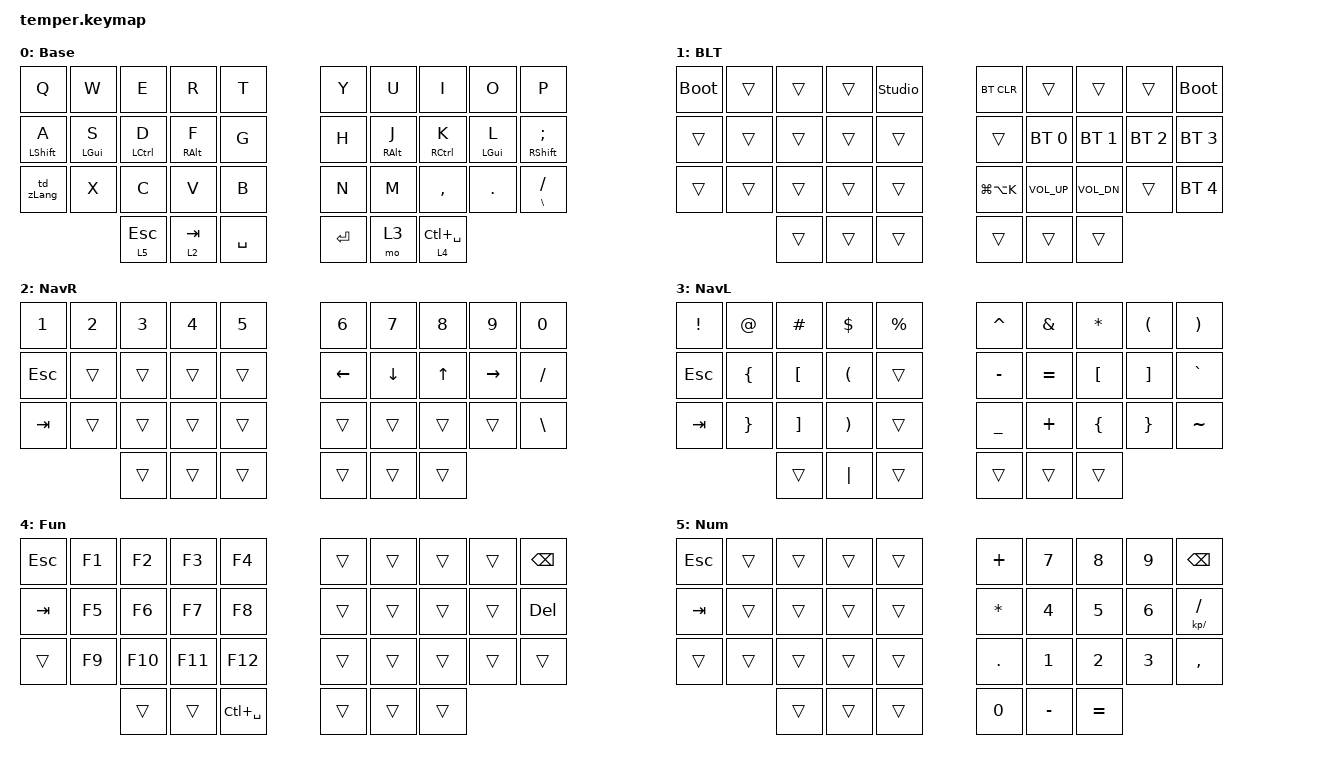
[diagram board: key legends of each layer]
/*
 * FunkeeB Temper keymap based on:
 * https://github.com/xphstos/xphstos_temper_zmk_
 *
 * Kept as plain ZMK devicetree for compatibility with both
 * Nick Coutsos' ZMK Keymap Editor and ZMK Studio.
 */

#include <behaviors.dtsi>
#include <dt-bindings/zmk/bt.h>
#include <dt-bindings/zmk/keys.h>

&mt {
    tapping-term-ms = <150>;
    flavor = "balanced";
};

&lt { tapping-term-ms = <165>; };

/ {
    behaviors {
        hm: hm {
            compatible = "zmk,behavior-hold-tap";
            label = "HM";
            bindings = <&kp>, <&kp>;

            #binding-cells = <2>;
            quick-tap-ms = <65>;
            tapping-term-ms = <125>;
            global-quick-tap;
            flavor = "tap-preferred";
        };

        hml: hml {
            compatible = "zmk,behavior-hold-tap";
            label = "HML";
            bindings = <&kp>, <&kp>;

            #binding-cells = <2>;
            tapping-term-ms = <105>;
            quick-tap-ms = <60>;
            flavor = "hold-preferred";
            hold-trigger-key-positions = <0 1 2 3 4 20 21 22 23 24 14 25 15 5 6 16 26 27 17 7 8 18 28 29 19 9 11 12 13>;
            require-prior-idle-ms = <70>;
            hold-trigger-on-release;
        };

        hmr: hmr {
            compatible = "zmk,behavior-hold-tap";
            label = "HMR";
            bindings = <&kp>, <&kp>;

            #binding-cells = <2>;
            tapping-term-ms = <105>;
            quick-tap-ms = <60>;
            flavor = "hold-preferred";
            hold-trigger-key-positions = <0 10 20 21 1 11 12 2 3 4 24 14 13 23 22 25 26 28 27 29 9 8 7 6 5 15 16 17 18 30 31 32 33 34 35>;
            require-prior-idle-ms = <70>;
            hold-trigger-on-release;
        };

        mo_tog: mo_tog {
            compatible = "zmk,behavior-hold-tap";
            label = "MO_TOG";
            bindings = <&mo>, <&tog>;

            #binding-cells = <2>;
            tapping-term-ms = <200>;
            quick-tap-ms = <180>;
        };

        space_alt: space_alt {
            compatible = "zmk,behavior-hold-tap";
            label = "SPACE_ALT";
            bindings = <&kp>, <&kp>;

            #binding-cells = <2>;
            tapping-term-ms = <235>;
            quick-tap-ms = <100>;
            flavor = "tap-preferred";
            hold-trigger-key-positions = <10 12 20 21 16 17 19 6>;
            hold-trigger-on-release;
        };

        hm_shift_r: hm_shift_r {
            compatible = "zmk,behavior-hold-tap";
            label = "HM_SHIFT_R";
            bindings = <&kp>, <&kp>;

            #binding-cells = <2>;
            tapping-term-ms = <200>;
            flavor = "tap-preferred";
        };

        hm_shift_l: hm_shift_l {
            compatible = "zmk,behavior-hold-tap";
            label = "HM_SHIFT_L";
            bindings = <&kp>, <&kp>;

            #binding-cells = <2>;
            tapping-term-ms = <200>;
            flavor = "tap-preferred";
        };

        hm_2: hm_2 {
            compatible = "zmk,behavior-hold-tap";
            label = "HM_2";
            bindings = <&kp>, <&kp>;

            #binding-cells = <2>;
            tapping-term-ms = <200>;
            flavor = "tap-preferred";
        };

        td_zLang: td_zLang {
            compatible = "zmk,behavior-tap-dance";
            label = "TD_ZLANG";
            #binding-cells = <0>;
            bindings = <&kp Z>, <&kp LC(SPACE)>;

            tapping-term-ms = <40>;
        };
    };

    combos {
        compatible = "zmk,combos";

        caps {
            bindings = <&kp CAPSLOCK>;
            key-positions = <10 19>;
            layers = <0>;
        };

        quotes {
            bindings = <&kp SINGLE_QUOTE>;
            key-positions = <18 19>;
            layers = <0>;
            timeout-ms = <30>;
        };

        boot_l {
            bindings = <&bootloader>;
            key-positions = <0 32 4>;
            layers = <0>;
        };

        bluetooth {
            bindings = <&mo 1>;
            key-positions = <32 33>;
        };

        boot_r {
            bindings = <&bootloader>;
            key-positions = <5 33 9>;
            layers = <0>;
        };

        backspace_r {
            bindings = <&kp BACKSPACE>;
            key-positions = <9 8>;
            timeout-ms = <40>;
            require-prior-idle-ms = <20>;
        };

        escape {
            bindings = <&kp ESCAPE>;
            key-positions = <0 1>;
            timeout-ms = <40>;
            require-prior-idle-ms = <33>;
        };
    };

    keymap {
        compatible = "zmk,keymap";

        base_layer {
            display-name = "Base";
            bindings = <
&kp Q                     &kp W             &kp E                 &kp R              &kp T        &kp Y      &kp U              &kp I                  &kp O             &kp P
&hm_shift_l LEFT_SHIFT A  &hm_2 LEFT_GUI S  &hm_2 LEFT_CONTROL D  &hm_2 RIGHT_ALT F  &kp G        &kp H      &hm_2 RIGHT_ALT J  &hm_2 RIGHT_CONTROL K  &hm_2 LEFT_GUI L  &hm_shift_r RIGHT_SHIFT SEMICOLON
&td_zLang                 &kp X             &kp C                 &kp V              &kp B        &kp N      &kp M              &kp COMMA              &kp DOT           &mt BACKSLASH SLASH
                                            &lt 5 ESCAPE          &lt 2 TAB          &kp SPACE    &kp ENTER  &mo 3              &lt 4 LC(SPACE)
            >;
        };

        bluetooth_layer {
            display-name = "BLT";
            bindings = <
&bootloader  &trans  &trans  &trans  &studio_unlock    &bt BT_CLR     &trans        &trans        &trans        &bootloader
&trans       &trans  &trans  &trans  &trans            &trans         &bt BT_SEL 0  &bt BT_SEL 1  &bt BT_SEL 2  &bt BT_SEL 3
&trans       &trans  &trans  &trans  &trans            &kp LG(LA(K))  &kp C_VOL_UP  &kp C_VOL_DN  &trans        &bt BT_SEL 4
                     &trans  &trans  &trans            &trans         &trans        &trans
            >;
        };

        navi_right_layer {
            display-name = "NavR";
            bindings = <
&kp NUMBER_1  &kp NUMBER_2  &kp NUMBER_3  &kp NUMBER_4  &kp NUMBER_5    &kp NUMBER_6  &kp NUMBER_7  &kp NUMBER_8  &kp NUMBER_9  &kp NUMBER_0
&kp ESC       &trans        &trans        &trans        &trans          &kp LEFT      &kp DOWN      &kp UP        &kp RIGHT     &kp SLASH
&kp TAB       &trans        &trans        &trans        &trans          &trans        &trans        &trans        &trans        &kp BACKSLASH
                            &trans        &trans        &trans          &trans        &trans        &trans
            >;
        };

        navi_left_layer {
            display-name = "NavL";
            bindings = <
&kp EXCLAMATION  &kp AT_SIGN      &kp HASH           &kp DOLLAR             &kp PERCENT    &kp CARET       &kp AMPERSAND  &kp ASTERISK      &kp LEFT_PARENTHESIS  &kp RIGHT_PARENTHESIS
&kp ESC          &kp LEFT_BRACE   &kp LEFT_BRACKET   &kp LEFT_PARENTHESIS   &trans         &kp MINUS       &kp EQUAL      &kp LEFT_BRACKET  &kp RIGHT_BRACKET     &kp GRAVE
&kp TAB          &kp RIGHT_BRACE  &kp RIGHT_BRACKET  &kp RIGHT_PARENTHESIS  &trans         &kp UNDERSCORE  &kp PLUS       &kp LEFT_BRACE    &kp RIGHT_BRACE       &kp TILDE
                                  &trans             &kp PIPE               &trans         &trans          &trans         &trans
            >;
        };

        function_layer {
            display-name = "Fun";
            bindings = <
&kp ESC  &kp F1  &kp F2   &kp F3   &kp F4           &trans  &trans  &trans  &trans  &kp BACKSPACE
&kp TAB  &kp F5  &kp F6   &kp F7   &kp F8           &trans  &trans  &trans  &trans  &kp DELETE
&trans   &kp F9  &kp F10  &kp F11  &kp F12          &trans  &trans  &trans  &trans  &trans
                 &trans   &trans   &kp LC(SPACE)    &trans  &trans  &trans
            >;
        };

        numerical_layer {
            display-name = "Num";
            bindings = <
&kp ESCAPE  &trans  &trans  &trans  &trans    &kp PLUS      &kp N7        &kp N8        &kp N9        &kp BACKSPACE
&kp TAB     &trans  &trans  &trans  &trans    &kp ASTERISK  &kp NUMBER_4  &kp N5        &kp NUMBER_6  &mt KP_DIVIDE SLASH
&trans      &trans  &trans  &trans  &trans    &kp PERIOD    &kp NUMBER_1  &kp NUMBER_2  &kp NUMBER_3  &kp COMMA
                    &trans  &trans  &trans    &kp N0        &kp MINUS     &kp EQUAL
            >;
        };
    };
};
